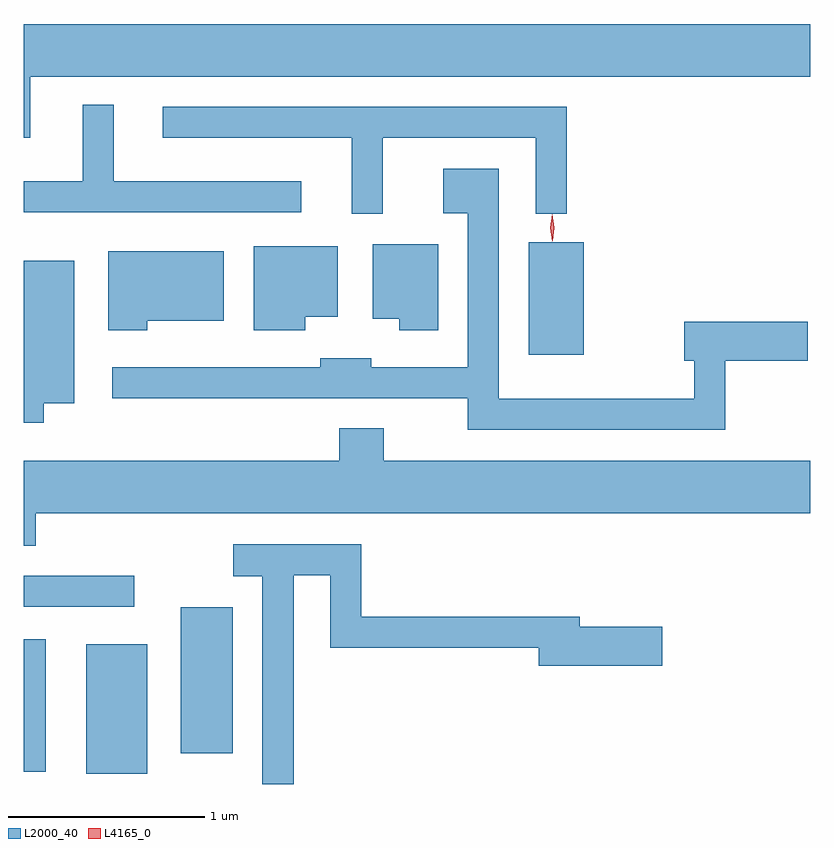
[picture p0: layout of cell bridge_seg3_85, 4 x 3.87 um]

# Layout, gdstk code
import gdstk
lib = gdstk.Library(unit=1e-6, precision=1e-09)
def R(c, l, rs):  # rectangles x0, y0, x1, y1
    for r in rs: c.add(gdstk.rectangle(r[:2], r[2:], *l))
def P(c, l, *ps):  # polygons
    for p in ps: c.add(gdstk.Polygon(p, *l))
L2000_40 = (2000, 40)
L4165_0 = (4165, 0)

bridge_seg3_85 = lib.new_cell('bridge_seg3_85')
R(bridge_seg3_85, L2000_40, [(1127.976,1164.651,1128.284,1165.309), (1127.657,1164.661,1127.769,1165.334), (1128.456,1164.756,1128.719,1165.499), (1127.657,1165.501,1128.218,1165.659), (1130.226,1166.781,1130.504,1167.354)])
P(bridge_seg3_85, L2000_40, [(1127.689,1168.196),(1131.657,1168.196),(1131.657,1168.464),(1127.657,1168.464),(1127.657,1167.886),(1127.689,1167.886)],
  [(1129.068,1167.664),(1128.114,1167.664),(1128.114,1168.053),(1127.956,1168.053),(1127.956,1167.664),(1127.657,1167.664),(1127.657,1167.506),(1129.068,1167.506)],
  [(1129.484,1167.886),(1130.261,1167.886),(1130.261,1167.498),(1130.419,1167.498),(1130.419,1168.044),(1128.363,1168.044),(1128.363,1167.886),(1129.326,1167.886),(1129.326,1167.498),(1129.484,1167.498)],
  [(1131.224,1166.751),(1131.644,1166.751),(1131.644,1166.949),(1131.016,1166.949),(1131.016,1166.751),(1131.066,1166.751),(1131.066,1166.559),(1130.074,1166.559),(1130.074,1167.729),(1129.791,1167.729),(1129.791,1167.501),(1129.916,1167.501),(1129.916,1166.719),(1129.424,1166.719),(1129.424,1166.764),(1129.166,1166.764),(1129.166,1166.719),(1128.108,1166.719),(1128.108,1166.561),(1129.916,1166.561),(1129.916,1166.401),(1131.224,1166.401)],
  [(1129.764,1167.344),(1129.431,1167.344),(1129.431,1166.966),(1129.566,1166.966),(1129.566,1166.906),(1129.764,1166.906)],
  [(1129.089,1166.976),(1129.254,1166.976),(1129.254,1167.334),(1128.826,1167.334),(1128.826,1166.906),(1129.089,1166.906)],
  [(1128.284,1166.956),(1128.674,1166.956),(1128.674,1167.309),(1128.086,1167.309),(1128.086,1166.906),(1128.284,1166.906)],
  [(1127.759,1166.536),(1127.914,1166.536),(1127.914,1167.259),(1127.657,1167.259),(1127.657,1166.436),(1127.759,1166.436)],
  [(1127.719,1165.976),(1131.657,1165.976),(1131.657,1166.244),(1129.489,1166.244),(1129.489,1166.409),(1129.261,1166.409),(1129.261,1166.244),(1127.657,1166.244),(1127.657,1165.811),(1127.719,1165.811)],
  [(1129.029,1165.661),(1129.216,1165.661),(1129.216,1165.291),(1130.276,1165.291),(1130.276,1165.201),(1130.904,1165.201),(1130.904,1165.399),(1130.484,1165.399),(1130.484,1165.449),(1129.374,1165.449),(1129.374,1165.819),(1128.723,1165.819),(1128.723,1165.656),(1128.871,1165.656),(1128.871,1164.599),(1129.029,1164.599)])
P(bridge_seg3_85, L4165_0, [(1130.347,1167.361),(1130.346,1167.362),(1130.335,1167.427),(1130.344,1167.492),(1130.344,1167.493),(1130.345,1167.492),(1130.356,1167.427),(1130.347,1167.362)],
  [(1130.346,1167.359),(1130.346,1167.36),(1130.335,1167.427),(1130.344,1167.496),(1130.344,1167.496),(1130.345,1167.496),(1130.355,1167.428),(1130.346,1167.36)])

lib.write_gds('bridge_seg3_85.gds')
